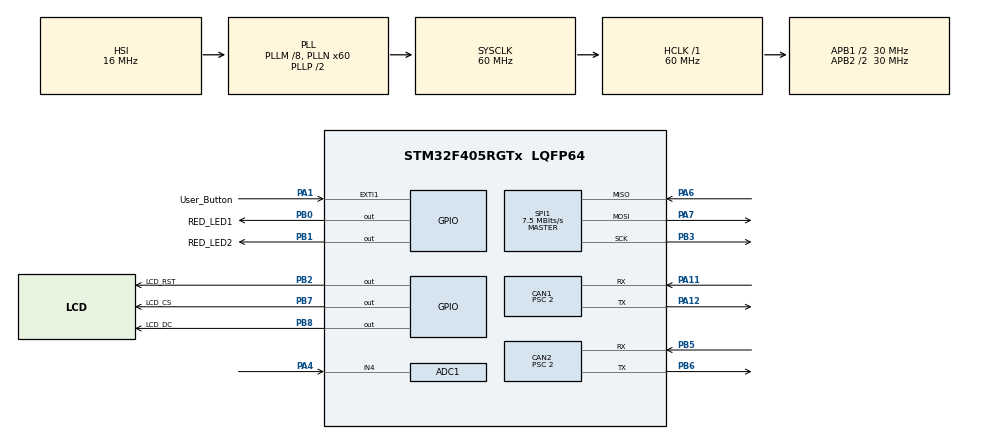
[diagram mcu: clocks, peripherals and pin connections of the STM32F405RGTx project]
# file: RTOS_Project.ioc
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ADC1.Channel-0\#ChannelRegularConversion=ADC_CHANNEL_4
ADC1.NbrOfConversionFlag=1
ADC1.Rank-0\#ChannelRegularConversion=1
ADC1.SamplingTime-0\#ChannelRegularConversion=ADC_SAMPLETIME_3CYCLES
ADC1.master=1
CAN1.BS1=CAN_BS1_6TQ
CAN1.BS2=CAN_BS2_8TQ
CAN1.CalculateBaudRate=999999
CAN1.CalculateTimeBit=1000
CAN1.CalculateTimeQuantum=66.66666666666667
CAN1.Mode=CAN_MODE_NORMAL
CAN1.Prescaler=2
CAN2.BS1=CAN_BS1_6TQ
CAN2.BS2=CAN_BS2_8TQ
CAN2.CalculateBaudRate=999999
CAN2.CalculateTimeBit=1000
CAN2.CalculateTimeQuantum=66.66666666666667
CAN2.Mode=CAN_MODE_NORMAL
CAN2.Prescaler=2
Dma.ADC1.0.Direction=DMA_PERIPH_TO_MEMORY
Dma.ADC1.0.FIFOMode=DMA_FIFOMODE_DISABLE
Dma.ADC1.0.Instance=DMA2_Stream0
Dma.ADC1.0.MemDataAlignment=DMA_MDATAALIGN_HALFWORD
Dma.ADC1.0.MemInc=DMA_MINC_ENABLE
Dma.ADC1.0.Mode=DMA_NORMAL
Dma.ADC1.0.PeriphDataAlignment=DMA_PDATAALIGN_HALFWORD
Dma.ADC1.0.PeriphInc=DMA_PINC_DISABLE
Dma.ADC1.0.Priority=DMA_PRIORITY_MEDIUM
Dma.MEMTOMEM.1.Direction=DMA_MEMORY_TO_MEMORY
Dma.MEMTOMEM.1.FIFOMode=DMA_FIFOMODE_ENABLE
Dma.MEMTOMEM.1.FIFOThreshold=DMA_FIFO_THRESHOLD_FULL
Dma.MEMTOMEM.1.Instance=DMA2_Stream1
Dma.MEMTOMEM.1.MemBurst=DMA_MBURST_SINGLE
Dma.MEMTOMEM.1.MemDataAlignment=DMA_MDATAALIGN_WORD
Dma.MEMTOMEM.1.MemInc=DMA_MINC_ENABLE
Dma.MEMTOMEM.1.Mode=DMA_NORMAL
Dma.MEMTOMEM.1.PeriphBurst=DMA_PBURST_SINGLE
Dma.MEMTOMEM.1.PeriphDataAlignment=DMA_PDATAALIGN_WORD
Dma.MEMTOMEM.1.PeriphInc=DMA_PINC_ENABLE
Dma.MEMTOMEM.1.Priority=DMA_PRIORITY_HIGH
Dma.Request0=ADC1
Dma.Request1=MEMTOMEM
FREERTOS.BinarySemaphores01=myBinarySem01,Static,myBinarySem01ControlBlock,Available;myBinarySem02,Static,myBinarySem02ControlBlock,Available
FREERTOS.Queues01=ADC_QName,16,uint32_t,0,Static,ADC_QNameBuffer,ADC_QNameControlBlock;LCD_QName,16,uint32_t,0,Static,LCD_QNameBuffer,LCD_QNameControlBlock
FREERTOS.Tasks01=Task01,0,1024,StartTask01,Default,NULL,Static,Task1Buffer,Task1ControlBlock;Task02,1,1024,StartTask02,Default,NULL,Static,Task02Buffer,Task02ControlBlock;Task03,1,1024,StartTask03,Default,NULL,Static,Task03Buffer,Task03ControlBlock
FREERTOS.configENABLE_FPU=1
Mcu.Family=STM32F4
Mcu.Name=STM32F405RGTx
Mcu.Package=LQFP64
NVIC.CAN2_RX0_IRQn=true\:5\:0\:true\:false\:true\:true\:true\:true\:true
NVIC.DMA2_Stream0_IRQn=true\:5\:0\:false\:false\:true\:true\:false\:true\:true
NVIC.EXTI1_IRQn=true\:5\:0\:true\:false\:true\:true\:true\:true\:true
NVIC.PriorityGroup=NVIC_PRIORITYGROUP_4
NVIC.TIM2_IRQn=true\:15\:0\:false\:false\:true\:false\:false\:true\:true
NVIC.TIM4_IRQn=true\:5\:0\:true\:false\:true\:true\:true\:true\:true
NVIC.TimeBase=TIM2_IRQn
NVIC.TimeBaseIP=TIM2
PA1.GPIO_Label=User_Button
PA1.GPIO_ModeDefaultEXTI=GPIO_MODE_IT_FALLING
PA1.GPIO_PuPd=GPIO_PULLUP
PA1.Signal=GPXTI1
PA11.GPIO_Mode=GPIO_MODE_AF_PP
PA11.GPIO_PuPd=GPIO_PULLUP
PA11.GPIO_Speed=GPIO_SPEED_FREQ_HIGH
PA11.Mode=CAN_Activate
PA11.Signal=CAN1_RX
PA12.GPIO_PuPd=GPIO_PULLUP
PA12.GPIO_Speed=GPIO_SPEED_FREQ_HIGH
PA12.Mode=CAN_Activate
PA12.Signal=CAN1_TX
PA13.Mode=Serial_Wire
PA13.Signal=SYS_JTMS-SWDIO
PA14.Mode=Serial_Wire
PA14.Signal=SYS_JTCK-SWCLK
PA4.Signal=ADCx_IN4
PA6.GPIO_PuPd=GPIO_PULLUP
PA6.Mode=Full_Duplex_Master
PA6.Signal=SPI1_MISO
PA7.GPIO_PuPd=GPIO_PULLUP
PA7.Mode=Full_Duplex_Master
PA7.Signal=SPI1_MOSI
PB0.GPIO_Label=RED_LED1
PB0.Signal=GPIO_Output
PB1.GPIO_Label=RED_LED2
PB1.Signal=GPIO_Output
PB2.GPIO_Label=LCD_RST
PB2.Signal=GPIO_Output
PB3.GPIO_PuPd=GPIO_PULLUP
PB3.Mode=Full_Duplex_Master
PB3.Signal=SPI1_SCK
PB5.GPIO_PuPd=GPIO_PULLUP
PB5.GPIO_Speed=GPIO_SPEED_FREQ_HIGH
PB5.Mode=CAN_Activate
PB5.Signal=CAN2_RX
PB6.GPIO_PuPd=GPIO_PULLUP
PB6.GPIO_Speed=GPIO_SPEED_FREQ_HIGH
PB6.Mode=CAN_Activate
PB6.Signal=CAN2_TX
PB7.GPIO_Label=LCD_CS
PB7.Signal=GPIO_Output
PB8.GPIO_Label=LCD_DC
PB8.Signal=GPIO_Output
ProjectManager.HeapSize=0x200
ProjectManager.StackSize=0x400
ProjectManager.TargetToolchain=MDK-ARM V5.32
RCC.48MHZClocksFreq_Value=30000000
RCC.AHBFreq_Value=60000000
RCC.APB1CLKDivider=RCC_HCLK_DIV2
RCC.APB1Freq_Value=30000000
RCC.APB1TimFreq_Value=60000000
RCC.APB2CLKDivider=RCC_HCLK_DIV2
RCC.APB2Freq_Value=30000000
RCC.APB2TimFreq_Value=60000000
RCC.CortexFreq_Value=60000000
RCC.HCLKFreq_Value=60000000
RCC.HSE_VALUE=25000000
RCC.HSI_VALUE=16000000
RCC.LSE_VALUE=32768
RCC.PLLM=8
RCC.PLLN=60
RCC.SYSCLKFreq_VALUE=60000000
RCC.SYSCLKSource=RCC_SYSCLKSOURCE_PLLCLK
RCC.VCOOutputFreq_Value=120000000
SH.ADCx_IN4.0=ADC1_IN4,IN4
SPI1.BaudRatePrescaler=SPI_BAUDRATEPRESCALER_4
SPI1.CLKPolarity=SPI_POLARITY_LOW
SPI1.CalculateBaudRate=7.5 MBits/s
SPI1.Direction=SPI_DIRECTION_2LINES
SPI1.Mode=SPI_MODE_MASTER
SPI1.VirtualType=VM_MASTER
TIM4.AutoReloadPreload=TIM_AUTORELOAD_PRELOAD_ENABLE
TIM4.Period=50000
TIM4.Prescaler=600 - 1
VP_FREERTOS_VS_CMSIS_V1.Mode=CMSIS_V1
VP_SYS_VS_tim2.Mode=TIM2
VP_TIM4_VS_ClockSourceINT.Mode=Internal
board=custom

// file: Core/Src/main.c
/* USER CODE BEGIN Header */
/**
  ******************************************************************************
  * @file           : main.c
  * @brief          : Main program body
  ******************************************************************************
  * @attention
  *
  * Copyright (c) 2024 STMicroelectronics.
  * All rights reserved.
  *
  * This software is licensed under terms that can be found in the LICENSE file
  * in the root directory of this software component.
  * If no LICENSE file comes with this software, it is provided AS-IS.
  *
  ******************************************************************************
  */
/* USER CODE END Header */
#include "main.h"
#include "cmsis_os.h"

/* USER CODE BEGIN Includes */
#include <assert.h>
#include <stdio.h>
#include "fonts.h"
#include "st7789.h"
/* USER CODE END Includes */

/* USER CODE BEGIN PD */
#define ADC_Buffer_Size 1
#define FLASH_TIMEOUT_VALUE       50000U /* 50 s */
// x starts at 0 and end at 4
#define FLASH_SECTOR_0_TO_4_OFFSET(x) (0x08000000UL + (0x4000UL * x))

static HAL_StatusTypeDef FLASH_DMA_Write(uint32_t Address, uint32_t Data);
/* USER CODE END PD */

ADC_HandleTypeDef hadc1;
DMA_HandleTypeDef hdma_adc1;

CAN_HandleTypeDef hcan1;
CAN_HandleTypeDef hcan2;

SPI_HandleTypeDef hspi1;

TIM_HandleTypeDef htim4;

DMA_HandleTypeDef hdma_memtomem_dma2_stream1;
osThreadId Task01Handle;
uint32_t Task1Buffer[ 1024 ];
osStaticThreadDef_t Task1ControlBlock;
osThreadId Task02Handle;
uint32_t Task02Buffer[ 1024 ];
osStaticThreadDef_t Task02ControlBlock;
osThreadId Task03Handle;
uint32_t Task03Buffer[ 1024 ];
osStaticThreadDef_t Task03ControlBlock;
osMessageQId ADC_QNameHandle;
uint8_t ADC_QNameBuffer[ 16 * sizeof( uint32_t ) ];
osStaticMessageQDef_t ADC_QNameControlBlock;
osMessageQId LCD_QNameHandle;
uint8_t LCD_QNameBuffer[ 16 * sizeof( uint32_t ) ];
osStaticMessageQDef_t LCD_QNameControlBlock;
osSemaphoreId myBinarySem01Handle;
osStaticSemaphoreDef_t myBinarySem01ControlBlock;
osSemaphoreId myBinarySem02Handle;
osStaticSemaphoreDef_t myBinarySem02ControlBlock;
/* USER CODE BEGIN PV */
uint32_t ADC_Buffer;
uint32_t FLASH_Data;
extern FLASH_ProcessTypeDef pFlash;

/* USER CODE END PV */

void SystemClock_Config(void);
static void MX_GPIO_Init(void);
static void MX_DMA_Init(void);
static void MX_ADC1_Init(void);
static void MX_TIM4_Init(void);
static void MX_SPI1_Init(void);
static void MX_CAN1_Init(void);
static void MX_CAN2_Init(void);
void StartTask01(void const * argument);
void StartTask02(void const * argument);
void StartTask03(void const * argument);

/* USER CODE BEGIN 0 */

/* Debounce User Button by timer */
uint32_t previousMillis = 0;
uint32_t currentMillis = 0;

uint8_t datacheck = 0;  //use for debugging

uint16_t LCD_Data;

uint8_t TxData[8];
uint8_t RxData[8];

CAN_TxHeaderTypeDef TxHeader;
CAN_RxHeaderTypeDef RxHeader;

uint32_t TxMailbox;

/* USER CODE END 0 */

int main(void)
{

  /* MCU Configuration--------------------------------------------------------*/

  /* Reset of all peripherals, Initializes the Flash interface and the Systick. */
  HAL_Init();

  /* Configure the system clock */
  SystemClock_Config();

  /* Initialize all configured peripherals */
  MX_GPIO_Init();
  MX_DMA_Init();
  MX_ADC1_Init();
  MX_TIM4_Init();
  MX_SPI1_Init();
  MX_CAN1_Init();
  MX_CAN2_Init();
  /* USER CODE BEGIN 2 */
	ST7789_Init();

	/*Start Can*/
	HAL_CAN_Start(&hcan1);
	HAL_CAN_Start(&hcan2);

	/* Enable Can Interrupt */
	HAL_CAN_ActivateNotification(&hcan2, CAN_IT_RX_FIFO0_MSG_PENDING);

	TxHeader.DLC = 2; 						// DataLength
	TxHeader.IDE = CAN_ID_STD; 		// Can Identifier type
	TxHeader.StdId = 0x405;				// Standand ID
	TxHeader.RTR = CAN_RTR_DATA;	// CAN Remote Transmission Request
	TxHeader.TransmitGlobalTime = DISABLE;
  /* USER CODE END 2 */

  /* Create the semaphores(s) */
  /* definition and creation of myBinarySem01 */
  osSemaphoreStaticDef(myBinarySem01, &myBinarySem01ControlBlock);
  myBinarySem01Handle = osSemaphoreCreate(osSemaphore(myBinarySem01), 1);

  /* definition and creation of myBinarySem02 */
  osSemaphoreStaticDef(myBinarySem02, &myBinarySem02ControlBlock);
  myBinarySem02Handle = osSemaphoreCreate(osSemaphore(myBinarySem02), 1);

  /* Create the queue(s) */
  /* definition and creation of ADC_QName */
  osMessageQStaticDef(ADC_QName, 16, uint32_t, ADC_QNameBuffer, &ADC_QNameControlBlock);
  ADC_QNameHandle = osMessageCreate(osMessageQ(ADC_QName), NULL);

  /* definition and creation of LCD_QName */
  osMessageQStaticDef(LCD_QName, 16, uint32_t, LCD_QNameBuffer, &LCD_QNameControlBlock);
  LCD_QNameHandle = osMessageCreate(osMessageQ(LCD_QName), NULL);

  /* Create the thread(s) */
  /* definition and creation of Task01 */
  osThreadStaticDef(Task01, StartTask01, osPriorityNormal, 0, 1024, Task1Buffer, &Task1ControlBlock);
  Task01Handle = osThreadCreate(osThread(Task01), NULL);

  /* definition and creation of Task02 */
  osThreadStaticDef(Task02, StartTask02, osPriorityAboveNormal, 0, 1024, Task02Buffer, &Task02ControlBlock);
  Task02Handle = osThreadCreate(osThread(Task02), NULL);

  /* definition and creation of Task03 */
  osThreadStaticDef(Task03, StartTask03, osPriorityAboveNormal, 0, 1024, Task03Buffer, &Task03ControlBlock);
  Task03Handle = osThreadCreate(osThread(Task03), NULL);

  /* Start scheduler */
  osKernelStart();

  /* We should never get here as control is now taken by the scheduler */

  /* Infinite loop */
  while (1)
  {

  }
}

void SystemClock_Config(void)
{
  RCC_OscInitTypeDef RCC_OscInitStruct = {0};
  RCC_ClkInitTypeDef RCC_ClkInitStruct = {0};

  /** Configure the main internal regulator output voltage
  */
  __HAL_RCC_PWR_CLK_ENABLE();
  __HAL_PWR_VOLTAGESCALING_CONFIG(PWR_REGULATOR_VOLTAGE_SCALE1);

  /** Initializes the RCC Oscillators according to the specified parameters
  * in the RCC_OscInitTypeDef structure.
  */
  RCC_OscInitStruct.OscillatorType = RCC_OSCILLATORTYPE_HSI;
  RCC_OscInitStruct.HSIState = RCC_HSI_ON;
  RCC_OscInitStruct.HSICalibrationValue = RCC_HSICALIBRATION_DEFAULT;
  RCC_OscInitStruct.PLL.PLLState = RCC_PLL_ON;
  RCC_OscInitStruct.PLL.PLLSource = RCC_PLLSOURCE_HSI;
  RCC_OscInitStruct.PLL.PLLM = 8;
  RCC_OscInitStruct.PLL.PLLN = 60;
  RCC_OscInitStruct.PLL.PLLP = RCC_PLLP_DIV2;
  RCC_OscInitStruct.PLL.PLLQ = 4;
  if (HAL_RCC_OscConfig(&RCC_OscInitStruct) != HAL_OK)
  {
    Error_Handler();
  }

  /** Initializes the CPU, AHB and APB buses clocks
  */
  RCC_ClkInitStruct.ClockType = RCC_CLOCKTYPE_HCLK|RCC_CLOCKTYPE_SYSCLK
                              |RCC_CLOCKTYPE_PCLK1|RCC_CLOCKTYPE_PCLK2;
  RCC_ClkInitStruct.SYSCLKSource = RCC_SYSCLKSOURCE_PLLCLK;
  RCC_ClkInitStruct.AHBCLKDivider = RCC_SYSCLK_DIV1;
  RCC_ClkInitStruct.APB1CLKDivider = RCC_HCLK_DIV2;
  RCC_ClkInitStruct.APB2CLKDivider = RCC_HCLK_DIV2;

  if (HAL_RCC_ClockConfig(&RCC_ClkInitStruct, FLASH_LATENCY_1) != HAL_OK)
  {
    Error_Handler();
  }
}

static void MX_ADC1_Init(void)
{

  ADC_ChannelConfTypeDef sConfig = {0};

  /** Configure the global features of the ADC (Clock, Resolution, Data Alignment and number of conversion)
  */
  hadc1.Instance = ADC1;
  hadc1.Init.ClockPrescaler = ADC_CLOCK_SYNC_PCLK_DIV2;
  hadc1.Init.Resolution = ADC_RESOLUTION_12B;
  hadc1.Init.ScanConvMode = DISABLE;
  hadc1.Init.ContinuousConvMode = DISABLE;
  hadc1.Init.DiscontinuousConvMode = DISABLE;
  hadc1.Init.ExternalTrigConvEdge = ADC_EXTERNALTRIGCONVEDGE_NONE;
  hadc1.Init.ExternalTrigConv = ADC_SOFTWARE_START;
  hadc1.Init.DataAlign = ADC_DATAALIGN_RIGHT;
  hadc1.Init.NbrOfConversion = 1;
  hadc1.Init.DMAContinuousRequests = DISABLE;
  hadc1.Init.EOCSelection = ADC_EOC_SINGLE_CONV;
  if (HAL_ADC_Init(&hadc1) != HAL_OK)
  {
    Error_Handler();
  }

  /** Configure for the selected ADC regular channel its corresponding rank in the sequencer and its sample time.
  */
  sConfig.Channel = ADC_CHANNEL_4;
  sConfig.Rank = 1;
  sConfig.SamplingTime = ADC_SAMPLETIME_3CYCLES;
  if (HAL_ADC_ConfigChannel(&hadc1, &sConfig) != HAL_OK)
  {
    Error_Handler();
  }

}

static void MX_CAN1_Init(void)
{

  hcan1.Instance = CAN1;
  hcan1.Init.Prescaler = 2;
  hcan1.Init.Mode = CAN_MODE_NORMAL;
  hcan1.Init.SyncJumpWidth = CAN_SJW_1TQ;
  hcan1.Init.TimeSeg1 = CAN_BS1_6TQ;
  hcan1.Init.TimeSeg2 = CAN_BS2_8TQ;
  hcan1.Init.TimeTriggeredMode = DISABLE;
  hcan1.Init.AutoBusOff = DISABLE;
  hcan1.Init.AutoWakeUp = DISABLE;
  hcan1.Init.AutoRetransmission = DISABLE;
  hcan1.Init.ReceiveFifoLocked = DISABLE;
  hcan1.Init.TransmitFifoPriority = DISABLE;
  if (HAL_CAN_Init(&hcan1) != HAL_OK)
  {
    Error_Handler();
  }
  /* USER CODE BEGIN CAN1_Init 2 */

	/* Enable Can Clock */

  CAN_FilterTypeDef canfilterconfig;

  canfilterconfig.FilterActivation = CAN_FILTER_ENABLE;
  canfilterconfig.FilterBank = 0;  // which filter bank to use from the assigned ones
  canfilterconfig.FilterFIFOAssignment = CAN_FILTER_FIFO0;
  canfilterconfig.FilterIdHigh = 0x0000;
  canfilterconfig.FilterIdLow = 0x0000;
  canfilterconfig.FilterMaskIdHigh = 0x0000;
  canfilterconfig.FilterMaskIdLow = 0x0000;
  canfilterconfig.FilterMode = CAN_FILTERMODE_IDMASK;
  canfilterconfig.FilterScale = CAN_FILTERSCALE_32BIT;
  canfilterconfig.SlaveStartFilterBank = 12;  // how many filters to assign to the CAN1 (master can)

  HAL_CAN_ConfigFilter(&hcan1, &canfilterconfig);
  /* USER CODE END CAN1_Init 2 */

}

static void MX_CAN2_Init(void)
{

  hcan2.Instance = CAN2;
  hcan2.Init.Prescaler = 2;
  hcan2.Init.Mode = CAN_MODE_NORMAL;
  hcan2.Init.SyncJumpWidth = CAN_SJW_1TQ;
  hcan2.Init.TimeSeg1 = CAN_BS1_6TQ;
  hcan2.Init.TimeSeg2 = CAN_BS2_8TQ;
  hcan2.Init.TimeTriggeredMode = DISABLE;
  hcan2.Init.AutoBusOff = DISABLE;
  hcan2.Init.AutoWakeUp = DISABLE;
  hcan2.Init.AutoRetransmission = DISABLE;
  hcan2.Init.ReceiveFifoLocked = DISABLE;
  hcan2.Init.TransmitFifoPriority = DISABLE;
  if (HAL_CAN_Init(&hcan2) != HAL_OK)
  {
    Error_Handler();
  }
  /* USER CODE BEGIN CAN2_Init 2 */
	__HAL_RCC_CAN2_CLK_ENABLE();

  CAN_FilterTypeDef canfilterconfig;

  canfilterconfig.FilterActivation = CAN_FILTER_ENABLE;
  canfilterconfig.FilterBank = 14;  // which filter bank to use from the assigned ones
  canfilterconfig.FilterFIFOAssignment = CAN_FILTER_FIFO0;
  canfilterconfig.FilterIdHigh = 0x0000;
  canfilterconfig.FilterIdLow = 0x0000;
  canfilterconfig.FilterMaskIdHigh = 0x0000;
  canfilterconfig.FilterMaskIdLow = 0x0000;
  canfilterconfig.FilterMode = CAN_FILTERMODE_IDMASK;
  canfilterconfig.FilterScale = CAN_FILTERSCALE_32BIT;

  HAL_CAN_ConfigFilter(&hcan2, &canfilterconfig);
  /* USER CODE END CAN2_Init 2 */

}

static void MX_SPI1_Init(void)
{

  /* SPI1 parameter configuration*/
  hspi1.Instance = SPI1;
  hspi1.Init.Mode = SPI_MODE_MASTER;
  hspi1.Init.Direction = SPI_DIRECTION_2LINES;
  hspi1.Init.DataSize = SPI_DATASIZE_8BIT;
  hspi1.Init.CLKPolarity = SPI_POLARITY_LOW;
  hspi1.Init.CLKPhase = SPI_PHASE_1EDGE;
  hspi1.Init.NSS = SPI_NSS_SOFT;
  hspi1.Init.BaudRatePrescaler = SPI_BAUDRATEPRESCALER_4;
  hspi1.Init.FirstBit = SPI_FIRSTBIT_MSB;
  hspi1.Init.TIMode = SPI_TIMODE_DISABLE;
  hspi1.Init.CRCCalculation = SPI_CRCCALCULATION_DISABLE;
  hspi1.Init.CRCPolynomial = 10;
  if (HAL_SPI_Init(&hspi1) != HAL_OK)
  {
    Error_Handler();
  }

}

static void MX_TIM4_Init(void)
{

  TIM_ClockConfigTypeDef sClockSourceConfig = {0};
  TIM_MasterConfigTypeDef sMasterConfig = {0};

  htim4.Instance = TIM4;
  htim4.Init.Prescaler = 600 - 1;
  htim4.Init.CounterMode = TIM_COUNTERMODE_UP;
  htim4.Init.Period = 50000;
  htim4.Init.ClockDivision = TIM_CLOCKDIVISION_DIV1;
  htim4.Init.AutoReloadPreload = TIM_AUTORELOAD_PRELOAD_ENABLE;
  if (HAL_TIM_Base_Init(&htim4) != HAL_OK)
  {
    Error_Handler();
  }
  sClockSourceConfig.ClockSource = TIM_CLOCKSOURCE_INTERNAL;
  if (HAL_TIM_ConfigClockSource(&htim4, &sClockSourceConfig) != HAL_OK)
  {
    Error_Handler();
  }
  sMasterConfig.MasterOutputTrigger = TIM_TRGO_RESET;
  sMasterConfig.MasterSlaveMode = TIM_MASTERSLAVEMODE_DISABLE;
  if (HAL_TIMEx_MasterConfigSynchronization(&htim4, &sMasterConfig) != HAL_OK)
  {
    Error_Handler();
  }

}

static void MX_DMA_Init(void)
{

  /* DMA controller clock enable */
  __HAL_RCC_DMA2_CLK_ENABLE();

  /* Configure DMA request hdma_memtomem_dma2_stream1 on DMA2_Stream1 */
  hdma_memtomem_dma2_stream1.Instance = DMA2_Stream1;
  hdma_memtomem_dma2_stream1.Init.Channel = DMA_CHANNEL_0;
  hdma_memtomem_dma2_stream1.Init.Direction = DMA_MEMORY_TO_MEMORY;
  hdma_memtomem_dma2_stream1.Init.PeriphInc = DMA_PINC_ENABLE;
  hdma_memtomem_dma2_stream1.Init.MemInc = DMA_MINC_ENABLE;
  hdma_memtomem_dma2_stream1.Init.PeriphDataAlignment = DMA_PDATAALIGN_WORD;
  hdma_memtomem_dma2_stream1.Init.MemDataAlignment = DMA_MDATAALIGN_WORD;
  hdma_memtomem_dma2_stream1.Init.Mode = DMA_NORMAL;
  hdma_memtomem_dma2_stream1.Init.Priority = DMA_PRIORITY_HIGH;
  hdma_memtomem_dma2_stream1.Init.FIFOMode = DMA_FIFOMODE_ENABLE;
  hdma_memtomem_dma2_stream1.Init.FIFOThreshold = DMA_FIFO_THRESHOLD_FULL;
  hdma_memtomem_dma2_stream1.Init.MemBurst = DMA_MBURST_SINGLE;
  hdma_memtomem_dma2_stream1.Init.PeriphBurst = DMA_PBURST_SINGLE;
  if (HAL_DMA_Init(&hdma_memtomem_dma2_stream1) != HAL_OK)
  {
    Error_Handler( );
  }

  /* DMA interrupt init */
  /* DMA2_Stream0_IRQn interrupt configuration */
  HAL_NVIC_SetPriority(DMA2_Stream0_IRQn, 5, 0);
  HAL_NVIC_EnableIRQ(DMA2_Stream0_IRQn);

}

static void MX_GPIO_Init(void)
{
  GPIO_InitTypeDef GPIO_InitStruct = {0};
/* USER CODE BEGIN MX_GPIO_Init_1 */
	  __HAL_RCC_CAN1_CLK_ENABLE();
		__HAL_RCC_CAN2_CLK_ENABLE();

/* USER CODE END MX_GPIO_Init_1 */

  /* GPIO Ports Clock Enable */
  __HAL_RCC_GPIOA_CLK_ENABLE();
  __HAL_RCC_GPIOB_CLK_ENABLE();

  /*Configure GPIO pin Output Level */
  HAL_GPIO_WritePin(GPIOB, RED_LED1_Pin|RED_LED2_Pin|LCD_RST_Pin|LCD_CS_Pin
                          |LCD_DC_Pin, GPIO_PIN_RESET);

  /*Configure GPIO pin : User_Button_Pin */
  GPIO_InitStruct.Pin = User_Button_Pin;
  GPIO_InitStruct.Mode = GPIO_MODE_IT_FALLING;
  GPIO_InitStruct.Pull = GPIO_PULLUP;
  HAL_GPIO_Init(User_Button_GPIO_Port, &GPIO_InitStruct);

  /*Configure GPIO pins : RED_LED1_Pin RED_LED2_Pin LCD_RST_Pin LCD_CS_Pin
                           LCD_DC_Pin */
  GPIO_InitStruct.Pin = RED_LED1_Pin|RED_LED2_Pin|LCD_RST_Pin|LCD_CS_Pin
                          |LCD_DC_Pin;
  GPIO_InitStruct.Mode = GPIO_MODE_OUTPUT_PP;
  GPIO_InitStruct.Pull = GPIO_NOPULL;
  GPIO_InitStruct.Speed = GPIO_SPEED_FREQ_LOW;
  HAL_GPIO_Init(GPIOB, &GPIO_InitStruct);

  /* EXTI interrupt init*/
  HAL_NVIC_SetPriority(EXTI1_IRQn, 5, 0);
  HAL_NVIC_EnableIRQ(EXTI1_IRQn);

}

/* USER CODE BEGIN 4 */
void HAL_GPIO_EXTI_Callback(uint16_t GPIO_Pin)
{
  currentMillis = HAL_GetTick();
  if (GPIO_Pin == GPIO_PIN_1 && (currentMillis - previousMillis > 100))
  {
		previousMillis = currentMillis;

		//Release Semaphore
		osSemaphoreRelease(myBinarySem01Handle);
  }
}

void HAL_CAN_RxFifo0MsgPendingCallback(CAN_HandleTypeDef *hcan)
{
		//Release Semaphore
		datacheck = 2;
		HAL_GPIO_TogglePin(GPIOB, GPIO_PIN_1);

		//Get Message from can 2
		HAL_CAN_GetRxMessage(hcan, CAN_RX_FIFO0, &RxHeader, RxData);

		//assign to LCD_Data variable
		LCD_Data = (RxData[1] << 8) + RxData[0];

		osMessagePut(LCD_QNameHandle, LCD_Data, 50);
		osSemaphoreRelease(myBinarySem02Handle);
}

void HAL_ADC_ConvCpltCallback(ADC_HandleTypeDef* hadc)
{
	if (hadc->Instance == ADC1) {
			osMessagePut(ADC_QNameHandle, ADC_Buffer, 50);
	}
}

static HAL_StatusTypeDef FLASH_DMA_Write(uint32_t Address, uint32_t Data)
{
	HAL_StatusTypeDef rc;

	/* Process Locked */
	__HAL_LOCK(&pFlash);
	// Wait for last operation to finish
	rc = FLASH_WaitForLastOperation(FLASH_TIMEOUT_VALUE);

	CLEAR_BIT(FLASH->CR, FLASH_CR_PSIZE);
	FLASH->CR |= FLASH_PSIZE_WORD;
	FLASH->CR |= FLASH_CR_PG;

	/* CPU Write */
	//*(__IO uint32_t*)Address = Data;

	/* Use DMA */
	HAL_DMA_Start(&hdma_memtomem_dma2_stream1, (uint32_t)&Data, Address, 1);
	while (HAL_DMA_PollForTransfer(&hdma_memtomem_dma2_stream1, HAL_DMA_FULL_TRANSFER, 100) != HAL_OK);

	/* Wait for last operation to be completed */

	rc = FLASH_WaitForLastOperation((uint32_t)FLASH_TIMEOUT_VALUE);

	/* If the program operation is completed, disable the PG Bit */
	FLASH->CR &= (~FLASH_CR_PG);
	/* Process Unlocked */
	__HAL_UNLOCK(&pFlash);

	return rc;
}
/* USER CODE END 4 */

void StartTask01(void const * argument)
{
  /* USER CODE BEGIN 5 */
		HAL_StatusTypeDef rc;
		FLASH_EraseInitTypeDef pEraseInit;
		uint32_t PageError;

		rc = HAL_TIM_Base_Start_IT(&htim4);
		assert(rc == HAL_OK && "Cannot start TIM4 clock for ADC sampling application");

		pEraseInit.TypeErase = FLASH_TYPEERASE_SECTORS;
		pEraseInit.Sector = FLASH_SECTOR_3;
		pEraseInit.NbSectors = 1;
		pEraseInit.VoltageRange = FLASH_VOLTAGE_RANGE_3;

  /* Infinite loop */
  for(;;)
  {
		// event.value.v hold the actual message (eg. the ADC1 data)
		osEvent event = osMessageGet(ADC_QNameHandle, osWaitForever);
		HAL_GPIO_TogglePin(GPIOB, GPIO_PIN_0);
		// Unlock flash
		HAL_FLASH_Unlock();
		// Erase first
		HAL_FLASHEx_Erase(&pEraseInit, &PageError);
		// Write to flash
		FLASH_DMA_Write(FLASH_SECTOR_0_TO_4_OFFSET(3), event.value.v);

		// Lock flash
		HAL_FLASH_Lock();

		// Read Flash
		FLASH_Data = *(__IO uint32_t *)(FLASH_SECTOR_0_TO_4_OFFSET(3));

  }
  /* USER CODE END 5 */
}

void StartTask02(void const * argument)
{
  /* USER CODE BEGIN StartTask02 */
  /* Infinite loop */
  for(;;)
  {
			//Wait binary semaphore01 release
			osSemaphoreWait(myBinarySem01Handle, osWaitForever);
			HAL_GPIO_TogglePin(GPIOB, GPIO_PIN_1);

			//Get Data From Flash in task01
			TxData[0] = FLASH_Data & 0xFF;
			TxData[1] = (FLASH_Data >> 8) & 0xFF;
			datacheck = 1;
			if (HAL_CAN_AddTxMessage(&hcan1, &TxHeader, TxData, &TxMailbox) != HAL_OK)
			{
					Error_Handler ();
			}
  }
  /* USER CODE END StartTask02 */
}

void StartTask03(void const * argument)
{
  /* USER CODE BEGIN StartTask03 */
  /* Infinite loop */
  for(;;)
  {

				//Wait binary semaphore02 release
				osSemaphoreWait(myBinarySem02Handle, osWaitForever);

				HAL_GPIO_TogglePin(GPIOB, GPIO_PIN_1);

				//This variable just use for debugging
				datacheck = 1;

				osEvent event = osMessageGet(LCD_QNameHandle, osWaitForever);

				char S[20];
				sprintf(S,"ADC value is: %d / 4095", event.value.v);

				ST7789_Fill_Color(WHITE);
				ST7789_WriteString(40,150, S, Font_7x10, WHITE, BLACK);
  }
  /* USER CODE END StartTask03 */
}

void HAL_TIM_PeriodElapsedCallback(TIM_HandleTypeDef *htim)
{
  if (htim->Instance == TIM2) {
    HAL_IncTick();
  }
  /* USER CODE BEGIN Callback 1 */
  if (htim->Instance == TIM4) {
    HAL_ADC_Start_DMA(&hadc1, &ADC_Buffer, ADC_Buffer_Size);
  }
  /* USER CODE END Callback 1 */
}

void Error_Handler(void)
{
  __disable_irq();
  while (1)
  {
  }
}
